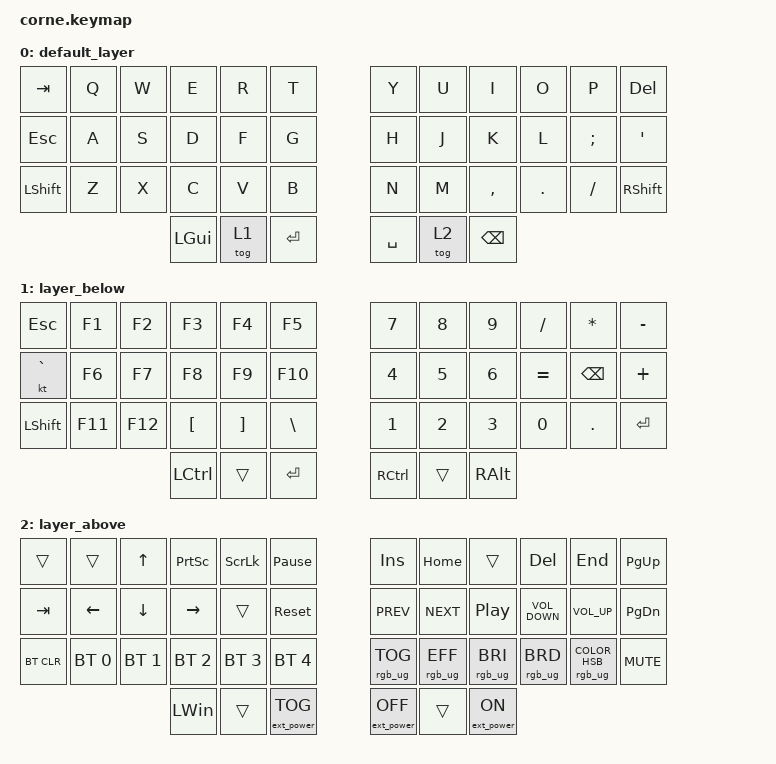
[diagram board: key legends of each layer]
/*
 * Copyright (c) 2020 The ZMK Contributors
 *
 * SPDX-License-Identifier: MIT
 */

#include <dt-bindings/led/led.h>
#include <behaviors.dtsi>
#include <dt-bindings/zmk/bt.h>
#include <dt-bindings/zmk/ext_power.h>
#include <dt-bindings/zmk/keys.h>
#include <dt-bindings/zmk/keys.h>
#include <dt-bindings/zmk/rgb.h>

&led_strip { chain-length = <42>; };

/ {
    behaviors {
        tp: tap_preferred {
            compatible = "zmk,behavior-hold-tap";
            label = "TAP_PREFERRED";
            #binding-cells = <2>;
            tapping-term-ms = <150>;
            quick-tap-ms = <0>;
            flavor = "tap-preferred";
            bindings = <&kp>, <&kp>;
        };
    };

    chosen { zmk,underglow = &led_strip; };

    keymap {
        compatible = "zmk,keymap";

        default_layer {
            // -----------------------------------------------------------------------------------------
            // | TAB  |  Q  |  W  |  E  |  R  |    T    |   |  Y  |  U   |  I  |  O  |  P  | ESC |
            // | CTRL |  A  |  S  |  D  |  F  |    G    |   |  H  |  J   |  K  |  L  |  ;  |  '   |
            // | SHFT |  Z  |  X  |  C  |  V  |    B    |   |  N  |  M   |  ,  |  .  |  /  | SHFT |
            //                    | GUI | RSE | ALT/ENT |   | BKSP | HYPER/SPC  | LWR |

            bindings = <
&kp TAB         &kp Q  &kp W  &kp E     &kp R   &kp T        &kp Y      &kp U   &kp I          &kp O    &kp P      &kp DELETE
&kp ESC         &kp A  &kp S  &kp D     &kp F   &kp G        &kp H      &kp J   &kp K          &kp L    &kp SEMI   &kp SQT
&kp LEFT_SHIFT  &kp Z  &kp X  &kp C     &kp V   &kp B        &kp N      &kp M   &kp COMMA      &kp DOT  &kp SLASH  &kp RIGHT_SHIFT
                              &kp LGUI  &tog 1  &kp ENTER    &kp SPACE  &tog 2  &kp BACKSPACE
            >;
        };

        layer_below {
            // -----------------------------------------------------------------------------------------
            // |      |  !  |  @  |  #  |  $  |    %     |   |  ^  |  &  |  *  |  (  |  )  |   \   |
            // |      |  1  |  2  |  3  |  4  |    5     |   |  -  |  =  |  `  |  [  |  ]  |  "|"  |
            // | SHFT |  6  |  7  |  8  |  9  |    0     |   |  _  |  +  |  ~  |  {  |  }  | RSHFT |
            //                     | GUI |     | ALT/ENT |   | BKSP | HYPER/SPACE |    |

            bindings = <
&kp ESC         &kp F1   &kp F2   &kp F3            &kp F4             &kp F5       &kp NUMBER_7  &kp NUMBER_8  &kp NUMBER_9   &kp SLASH     &kp STAR       &kp MINUS
&kt GRAVE       &kp F6   &kp F7   &kp F8            &kp F9             &kp F10      &kp NUMBER_4  &kp NUMBER_5  &kp NUMBER_6   &kp EQUAL     &kp BACKSPACE  &kp PLUS
&kp LEFT_SHIFT  &kp F11  &kp F12  &kp LEFT_BRACKET  &kp RIGHT_BRACKET  &kp BSLH     &kp NUMBER_1  &kp NUMBER_2  &kp NUMBER_3   &kp NUMBER_0  &kp DOT        &kp ENTER
                                  &kp LCTRL         &trans             &kp ENTER    &kp RCTRL     &trans        &kp RIGHT_ALT
            >;
        };

        layer_above {
            // -----------------------------------------------------------------------------------------
            // |  |  F1  |  F2  |  F3  |  F4  |  F5 |            |  F6  |  F7     |  F8     |  F9        |  F10     |     |
            // |  | Prev | Next | Vol - | Vol + | Play/Pause |   |      | LFT     | DWN     |  UP        |  RGT     |     |  HOME   |
            // |  BTCLR  | BT1 | BT2 | BT3 | BT4 | BT5 |   |            | RGB_TOG | RGB_EFF |  RGB_BRI   |  RGB_BRD |     |   END  |
            //                    |     |     |    |                  |     |     |     |

            bindings = <
&trans      &trans        &kp UP        &kp PRINTSCREEN  &kp SCROLLLOCK  &kp PAUSE_BREAK      &kp INS            &kp HOME         &trans            &kp DELETE         &kp END                           &kp PAGE_UP
&kp TAB     &kp LEFT      &kp DOWN      &kp RIGHT        &trans          &sys_reset           &kp C_PREV         &kp C_NEXT       &kp C_PP          &kp C_VOLUME_DOWN  &kp C_VOLUME_UP                   &kp PAGE_DOWN
&bt BT_CLR  &bt BT_SEL 0  &bt BT_SEL 1  &bt BT_SEL 2     &bt BT_SEL 3    &bt BT_SEL 4         &rgb_ug RGB_TOG    &rgb_ug RGB_EFF  &rgb_ug RGB_BRI   &rgb_ug RGB_BRD    &rgb_ug RGB_COLOR_HSB(241,88,46)  &kp C_MUTE
                                        &kp LWIN         &trans          &ext_power EP_TOG    &ext_power EP_OFF  &trans           &ext_power EP_ON
            >;
        };
    };
};
